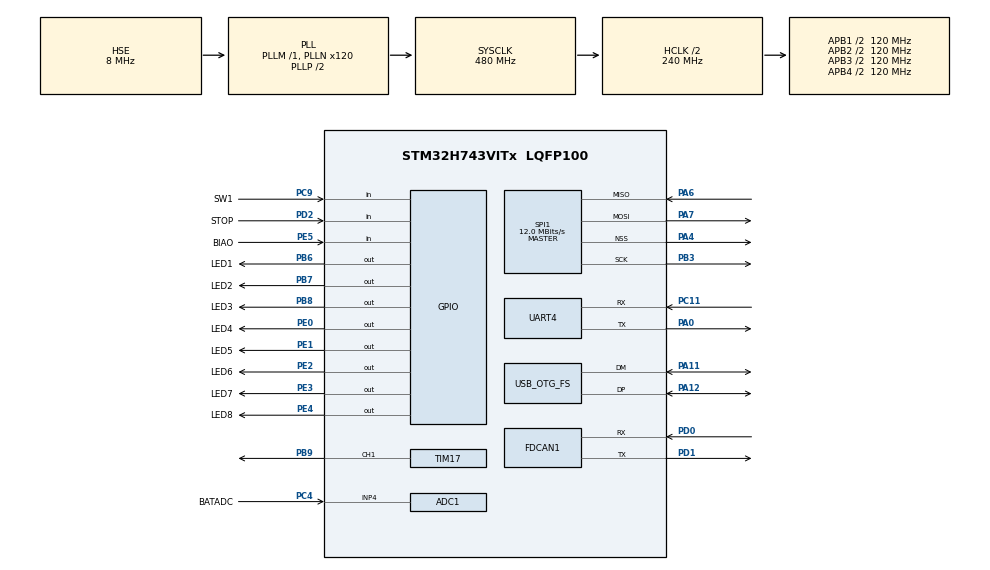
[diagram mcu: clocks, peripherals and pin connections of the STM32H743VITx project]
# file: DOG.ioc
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ADC1.Channel-0\#ChannelRegularConversion=ADC_CHANNEL_4
ADC1.ClockPrescaler=ADC_CLOCK_ASYNC_DIV4
ADC1.ContinuousConvMode=ENABLE
ADC1.NbrOfConversionFlag=1
ADC1.OffsetNumber-0\#ChannelRegularConversion=ADC_OFFSET_NONE
ADC1.OffsetSignedSaturation-0\#ChannelRegularConversion=DISABLE
ADC1.Rank-0\#ChannelRegularConversion=1
ADC1.SamplingTime-0\#ChannelRegularConversion=ADC_SAMPLETIME_16CYCLES_5
ADC1.master=1
CORTEX_M7.default_mode_Activation=1
Dma.Request0=SPI1_TX
Dma.Request1=SPI1_RX
Dma.SPI1_RX.1.Direction=DMA_PERIPH_TO_MEMORY
Dma.SPI1_RX.1.EventEnable=DISABLE
Dma.SPI1_RX.1.FIFOMode=DMA_FIFOMODE_DISABLE
Dma.SPI1_RX.1.Instance=DMA1_Stream1
Dma.SPI1_RX.1.MemDataAlignment=DMA_MDATAALIGN_BYTE
Dma.SPI1_RX.1.MemInc=DMA_MINC_ENABLE
Dma.SPI1_RX.1.Mode=DMA_NORMAL
Dma.SPI1_RX.1.PeriphDataAlignment=DMA_PDATAALIGN_BYTE
Dma.SPI1_RX.1.PeriphInc=DMA_PINC_DISABLE
Dma.SPI1_RX.1.Polarity=HAL_DMAMUX_REQ_GEN_RISING
Dma.SPI1_RX.1.Priority=DMA_PRIORITY_VERY_HIGH
Dma.SPI1_RX.1.RequestNumber=1
Dma.SPI1_RX.1.SignalID=NONE
Dma.SPI1_RX.1.SyncEnable=DISABLE
Dma.SPI1_RX.1.SyncPolarity=HAL_DMAMUX_SYNC_NO_EVENT
Dma.SPI1_RX.1.SyncRequestNumber=1
Dma.SPI1_RX.1.SyncSignalID=NONE
Dma.SPI1_TX.0.Direction=DMA_MEMORY_TO_PERIPH
Dma.SPI1_TX.0.EventEnable=DISABLE
Dma.SPI1_TX.0.FIFOMode=DMA_FIFOMODE_DISABLE
Dma.SPI1_TX.0.Instance=DMA1_Stream2
Dma.SPI1_TX.0.MemDataAlignment=DMA_MDATAALIGN_BYTE
Dma.SPI1_TX.0.MemInc=DMA_MINC_ENABLE
Dma.SPI1_TX.0.Mode=DMA_NORMAL
Dma.SPI1_TX.0.PeriphDataAlignment=DMA_PDATAALIGN_BYTE
Dma.SPI1_TX.0.PeriphInc=DMA_PINC_DISABLE
Dma.SPI1_TX.0.Polarity=HAL_DMAMUX_REQ_GEN_RISING
Dma.SPI1_TX.0.Priority=DMA_PRIORITY_VERY_HIGH
Dma.SPI1_TX.0.RequestNumber=1
Dma.SPI1_TX.0.SignalID=NONE
Dma.SPI1_TX.0.SyncEnable=DISABLE
Dma.SPI1_TX.0.SyncPolarity=HAL_DMAMUX_SYNC_NO_EVENT
Dma.SPI1_TX.0.SyncRequestNumber=1
Dma.SPI1_TX.0.SyncSignalID=NONE
FDCAN1.CalculateBaudRateNominal=1000000
FDCAN1.CalculateTimeBitNominal=1000
FDCAN1.CalculateTimeQuantumNominal=52.63157894736842
FDCAN1.ExtFiltersNbr=1
FDCAN1.NominalPrescaler=4
FDCAN1.NominalSyncJumpWidth=4
FDCAN1.NominalTimeSeg1=14
FDCAN1.NominalTimeSeg2=4
FDCAN1.RxFifo0ElmtsNbr=16
FDCAN1.StdFiltersNbr=1
FDCAN1.TxFifoQueueElmtsNbr=16
Mcu.Family=STM32H7
Mcu.Name=STM32H743VITx
Mcu.Package=LQFP100
NVIC.DMA1_Stream1_IRQn=true\:1\:0\:true\:false\:true\:false\:true\:true
NVIC.DMA1_Stream2_IRQn=true\:1\:0\:true\:false\:true\:false\:true\:true
NVIC.FDCAN1_IT0_IRQn=true\:2\:0\:true\:false\:true\:true\:true\:true
NVIC.FDCAN_CAL_IRQn=true\:2\:0\:true\:false\:true\:true\:true\:true
NVIC.OTG_FS_IRQn=true\:0\:0\:false\:false\:true\:false\:true\:true
NVIC.PriorityGroup=NVIC_PRIORITYGROUP_4
NVIC.SPI1_IRQn=true\:0\:0\:false\:false\:true\:true\:true\:true
NVIC.TIM6_DAC_IRQn=true\:5\:0\:true\:false\:true\:true\:true\:true
NVIC.UART4_IRQn=true\:3\:0\:true\:false\:true\:true\:true\:true
PA0.Mode=Asynchronous
PA0.Signal=UART4_TX
PA11.GPIO_Speed=GPIO_SPEED_FREQ_VERY_HIGH
PA11.Mode=Device_Only
PA11.Signal=USB_OTG_FS_DM
PA12.GPIO_Speed=GPIO_SPEED_FREQ_VERY_HIGH
PA12.Mode=Device_Only
PA12.Signal=USB_OTG_FS_DP
PA4.GPIO_Speed=GPIO_SPEED_FREQ_VERY_HIGH
PA4.Mode=NSS_Signal_Hard_Output
PA4.Signal=SPI1_NSS
PA6.GPIO_PuPd=GPIO_PULLUP
PA6.GPIO_Speed=GPIO_SPEED_FREQ_VERY_HIGH
PA6.Mode=Full_Duplex_Master
PA6.Signal=SPI1_MISO
PA7.GPIO_PuPd=GPIO_PULLUP
PA7.GPIO_Speed=GPIO_SPEED_FREQ_VERY_HIGH
PA7.Mode=Full_Duplex_Master
PA7.Signal=SPI1_MOSI
PB3\ (JTDO/TRACESWO).GPIO_PuPd=GPIO_PULLUP
PB3\ (JTDO/TRACESWO).GPIO_Speed=GPIO_SPEED_FREQ_VERY_HIGH
PB3\ (JTDO/TRACESWO).Mode=Full_Duplex_Master
PB3\ (JTDO/TRACESWO).Signal=SPI1_SCK
PB6.GPIO_Label=LED1
PB6.Signal=GPIO_Output
PB7.GPIO_Label=LED2
PB7.Signal=GPIO_Output
PB8.GPIO_Label=LED3
PB8.Signal=GPIO_Output
PB9.GPIO_Speed=GPIO_SPEED_FREQ_VERY_HIGH
PB9.Signal=S_TIM17_CH1
PC11.Mode=Asynchronous
PC11.Signal=UART4_RX
PC4.GPIO_Label=BATADC
PC4.GPIO_Pd=GPIO_NOPULL
PC4.Signal=ADCx_INP4
PC9.GPIO_Label=SW1
PC9.Signal=GPIO_Input
PD0.GPIO_Speed=GPIO_SPEED_FREQ_VERY_HIGH
PD0.Mode=FDCAN_Activate
PD0.Signal=FDCAN1_RX
PD1.GPIO_Speed=GPIO_SPEED_FREQ_VERY_HIGH
PD1.Mode=FDCAN_Activate
PD1.Signal=FDCAN1_TX
PD2.GPIO_Label=STOP
PD2.Signal=GPIO_Input
PE0.GPIO_Label=LED4
PE0.Signal=GPIO_Output
PE1.GPIO_Label=LED5
PE1.Signal=GPIO_Output
PE2.GPIO_Label=LED6
PE2.Signal=GPIO_Output
PE3.GPIO_Label=LED7
PE3.Signal=GPIO_Output
PE4.GPIO_Label=LED8
PE4.Signal=GPIO_Output
PE5.GPIO_Label=BIAO
PE5.Signal=GPIO_Input
PH0-OSC_IN\ (PH0).Mode=HSE-External-Oscillator
PH0-OSC_IN\ (PH0).Signal=RCC_OSC_IN
PH1-OSC_OUT\ (PH1).Mode=HSE-External-Oscillator
PH1-OSC_OUT\ (PH1).Signal=RCC_OSC_OUT
ProjectManager.HeapSize=0x200
ProjectManager.StackSize=0x400
ProjectManager.TargetToolchain=MDK-ARM V5.32
RCC.ADCCLockSelection=RCC_ADCCLKSOURCE_PLL3
RCC.ADCFreq_Value=96000000
RCC.APB1Freq_Value=120000000
RCC.APB2Freq_Value=120000000
RCC.APB3Freq_Value=120000000
RCC.APB4Freq_Value=120000000
RCC.CortexFreq_Value=480000000
RCC.D1PPRE=RCC_APB3_DIV2
RCC.D2PPRE1=RCC_APB1_DIV2
RCC.D2PPRE2=RCC_APB2_DIV2
RCC.D3PPRE=RCC_APB4_DIV2
RCC.DIVM1=1
RCC.DIVM2=1
RCC.DIVM3=4
RCC.DIVN1=120
RCC.DIVN2=19
RCC.DIVN3=96
RCC.DIVP2=8
RCC.DIVQ1=5
RCC.DIVQ3=4
RCC.FDCANCLockSelection=RCC_FDCANCLKSOURCE_PLL2
RCC.HCLKFreq_Value=240000000
RCC.HPRE=RCC_HCLK_DIV2
RCC.HSE_VALUE=8000000
RCC.PLL2FRACN=0
RCC.PLL3FRACN=0
RCC.PLLFRACN=0
RCC.PLLSourceVirtual=RCC_PLLSOURCE_HSE
RCC.SYSCLKFreq_VALUE=480000000
RCC.SYSCLKSource=RCC_SYSCLKSOURCE_PLLCLK
RCC.Tim2Mul=2
RCC.USBCLockSelection=RCC_USBCLKSOURCE_PLL3
RCC.USBFreq_Value=48000000
SH.ADCx_INP4.0=ADC1_INP4,IN4-Single-Ended
SH.S_TIM17_CH1.0=TIM17_CH1,PWM Generation1 CH1
SPI1.BaudRatePrescaler=SPI_BAUDRATEPRESCALER_16
SPI1.CalculateBaudRate=12.0 MBits/s
SPI1.DataSize=SPI_DATASIZE_8BIT
SPI1.Direction=SPI_DIRECTION_2LINES
SPI1.Mode=SPI_MODE_MASTER
SPI1.NSSPMode=SPI_NSS_PULSE_DISABLE
SPI1.VirtualNSS=VM_NSSHARD
SPI1.VirtualType=VM_MASTER
TIM17.AutoReloadPreload=TIM_AUTORELOAD_PRELOAD_ENABLE
TIM17.Channel=TIM_CHANNEL_1
TIM17.Period=999
TIM17.Prescaler=239
TIM17.Pulse=500
TIM6.AutoReloadPreload=TIM_AUTORELOAD_PRELOAD_ENABLE
TIM6.Period=99
TIM6.Prescaler=239
USB_DEVICE.CLASS_NAME_FS=CDC
USB_DEVICE.VirtualMode-CDC_FS=Cdc
USB_DEVICE.VirtualModeFS=Cdc_FS
USB_OTG_FS.VirtualMode=Device_Only
VP_MEMORYMAP_VS_MEMORYMAP.Mode=CurAppReg
VP_TIM17_VS_ClockSourceINT.Mode=Enable_Timer
VP_TIM6_VS_ClockSourceINT.Mode=Enable_Timer
VP_USB_DEVICE_VS_USB_DEVICE_CDC_FS.Mode=CDC_FS
board=custom

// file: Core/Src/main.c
/* USER CODE BEGIN Header */
/**
  ******************************************************************************
  * @file           : main.c
  * @brief          : Main program body
  ******************************************************************************
  * @attention
  *
  * Copyright (c) 2026 STMicroelectronics.
  * All rights reserved.
  *
  * This software is licensed under terms that can be found in the LICENSE file
  * in the root directory of this software component.
  * If no LICENSE file comes with this software, it is provided AS-IS.
  *
  ******************************************************************************
  */
/* USER CODE END Header */
#include "main.h"
#include "adc.h"
#include "dma.h"
#include "fdcan.h"
#include "spi.h"
#include "tim.h"
#include "usart.h"
#include "usb_device.h"
#include "gpio.h"

/* USER CODE BEGIN Includes */
#include "led.h"
#include "system_control.h"
#include "Led_indicator.h"
#include "fdcan_handler.h"
#include "motor.h"
#include "usbcol.h"
#include "u_spi.h"
/* USER CODE END Includes */

void SystemClock_Config(void);
void PeriphCommonClock_Config(void);
static void MPU_Config(void);

int main(void)
{

  /* MPU Configuration--------------------------------------------------------*/
  MPU_Config();

  /* MCU Configuration--------------------------------------------------------*/

  /* Reset of all peripherals, Initializes the Flash interface and the Systick. */
  HAL_Init();

  /* Configure the system clock */
  SystemClock_Config();

  /* Configure the peripherals common clocks */
  PeriphCommonClock_Config();

  /* Initialize all configured peripherals */
  MX_GPIO_Init();
  MX_DMA_Init();
  MX_FDCAN1_Init();
  MX_SPI1_Init();
  MX_UART4_Init();
  MX_USB_DEVICE_Init();
  MX_ADC1_Init();
  MX_TIM17_Init();
  MX_TIM6_Init();
  /* USER CODE BEGIN 2 */
	LED_Indicator_TestMode();

    HAL_Delay(500);

  /* ==================== 系统控制模块初始化 ==================== */
  System_Control_Init();

    /* 启动成功，蜂鸣器短鸣一声 */
    BEEP_On();
    HAL_Delay(200);
    BEEP_Off();

  /* USER CODE END 2 */

  /* Infinite loop */
  /* USER CODE BEGIN WHILE */
  while (1)
  {
        /* 处理USB接收、SPI发送、FDCAN控制 */
    System_Control_Process();

    /* 处理LED指示和蜂鸣器 */
    LED_Indicator_Process();
    /* USER CODE END WHILE */

  }
}

void SystemClock_Config(void)
{
  RCC_OscInitTypeDef RCC_OscInitStruct = {0};
  RCC_ClkInitTypeDef RCC_ClkInitStruct = {0};

  /** Supply configuration update enable
  */
  HAL_PWREx_ConfigSupply(PWR_LDO_SUPPLY);

  /** Configure the main internal regulator output voltage
  */
  __HAL_PWR_VOLTAGESCALING_CONFIG(PWR_REGULATOR_VOLTAGE_SCALE0);

  while(!__HAL_PWR_GET_FLAG(PWR_FLAG_VOSRDY)) {}

  /** Initializes the RCC Oscillators according to the specified parameters
  * in the RCC_OscInitTypeDef structure.
  */
  RCC_OscInitStruct.OscillatorType = RCC_OSCILLATORTYPE_HSE;
  RCC_OscInitStruct.HSEState = RCC_HSE_ON;
  RCC_OscInitStruct.PLL.PLLState = RCC_PLL_ON;
  RCC_OscInitStruct.PLL.PLLSource = RCC_PLLSOURCE_HSE;
  RCC_OscInitStruct.PLL.PLLM = 1;
  RCC_OscInitStruct.PLL.PLLN = 120;
  RCC_OscInitStruct.PLL.PLLP = 2;
  RCC_OscInitStruct.PLL.PLLQ = 5;
  RCC_OscInitStruct.PLL.PLLR = 2;
  RCC_OscInitStruct.PLL.PLLRGE = RCC_PLL1VCIRANGE_3;
  RCC_OscInitStruct.PLL.PLLVCOSEL = RCC_PLL1VCOWIDE;
  RCC_OscInitStruct.PLL.PLLFRACN = 0;
  if (HAL_RCC_OscConfig(&RCC_OscInitStruct) != HAL_OK)
  {
    Error_Handler();
  }

  /** Initializes the CPU, AHB and APB buses clocks
  */
  RCC_ClkInitStruct.ClockType = RCC_CLOCKTYPE_HCLK|RCC_CLOCKTYPE_SYSCLK
                              |RCC_CLOCKTYPE_PCLK1|RCC_CLOCKTYPE_PCLK2
                              |RCC_CLOCKTYPE_D3PCLK1|RCC_CLOCKTYPE_D1PCLK1;
  RCC_ClkInitStruct.SYSCLKSource = RCC_SYSCLKSOURCE_PLLCLK;
  RCC_ClkInitStruct.SYSCLKDivider = RCC_SYSCLK_DIV1;
  RCC_ClkInitStruct.AHBCLKDivider = RCC_HCLK_DIV2;
  RCC_ClkInitStruct.APB3CLKDivider = RCC_APB3_DIV2;
  RCC_ClkInitStruct.APB1CLKDivider = RCC_APB1_DIV2;
  RCC_ClkInitStruct.APB2CLKDivider = RCC_APB2_DIV2;
  RCC_ClkInitStruct.APB4CLKDivider = RCC_APB4_DIV2;

  if (HAL_RCC_ClockConfig(&RCC_ClkInitStruct, FLASH_LATENCY_4) != HAL_OK)
  {
    Error_Handler();
  }
}

void PeriphCommonClock_Config(void)
{
  RCC_PeriphCLKInitTypeDef PeriphClkInitStruct = {0};

  /** Initializes the peripherals clock
  */
  PeriphClkInitStruct.PeriphClockSelection = RCC_PERIPHCLK_USB|RCC_PERIPHCLK_ADC;
  PeriphClkInitStruct.PLL3.PLL3M = 4;
  PeriphClkInitStruct.PLL3.PLL3N = 96;
  PeriphClkInitStruct.PLL3.PLL3P = 2;
  PeriphClkInitStruct.PLL3.PLL3Q = 4;
  PeriphClkInitStruct.PLL3.PLL3R = 2;
  PeriphClkInitStruct.PLL3.PLL3RGE = RCC_PLL3VCIRANGE_1;
  PeriphClkInitStruct.PLL3.PLL3VCOSEL = RCC_PLL3VCOWIDE;
  PeriphClkInitStruct.PLL3.PLL3FRACN = 0;
  PeriphClkInitStruct.UsbClockSelection = RCC_USBCLKSOURCE_PLL3;
  PeriphClkInitStruct.AdcClockSelection = RCC_ADCCLKSOURCE_PLL3;
  if (HAL_RCCEx_PeriphCLKConfig(&PeriphClkInitStruct) != HAL_OK)
  {
    Error_Handler();
  }
}

 /* MPU Configuration */

void MPU_Config(void)
{
  MPU_Region_InitTypeDef MPU_InitStruct = {0};

  /* Disables the MPU */
  HAL_MPU_Disable();

  /** Initializes and configures the Region and the memory to be protected
  */
  MPU_InitStruct.Enable = MPU_REGION_ENABLE;
  MPU_InitStruct.Number = MPU_REGION_NUMBER0;
  MPU_InitStruct.BaseAddress = 0x0;
  MPU_InitStruct.Size = MPU_REGION_SIZE_4GB;
  MPU_InitStruct.SubRegionDisable = 0x87;
  MPU_InitStruct.TypeExtField = MPU_TEX_LEVEL0;
  MPU_InitStruct.AccessPermission = MPU_REGION_NO_ACCESS;
  MPU_InitStruct.DisableExec = MPU_INSTRUCTION_ACCESS_DISABLE;
  MPU_InitStruct.IsShareable = MPU_ACCESS_SHAREABLE;
  MPU_InitStruct.IsCacheable = MPU_ACCESS_NOT_CACHEABLE;
  MPU_InitStruct.IsBufferable = MPU_ACCESS_NOT_BUFFERABLE;

  HAL_MPU_ConfigRegion(&MPU_InitStruct);
  /* Enables the MPU */
  HAL_MPU_Enable(MPU_PRIVILEGED_DEFAULT);

}

void Error_Handler(void)
{
  __disable_irq();
  while (1)
  {
  }
}
